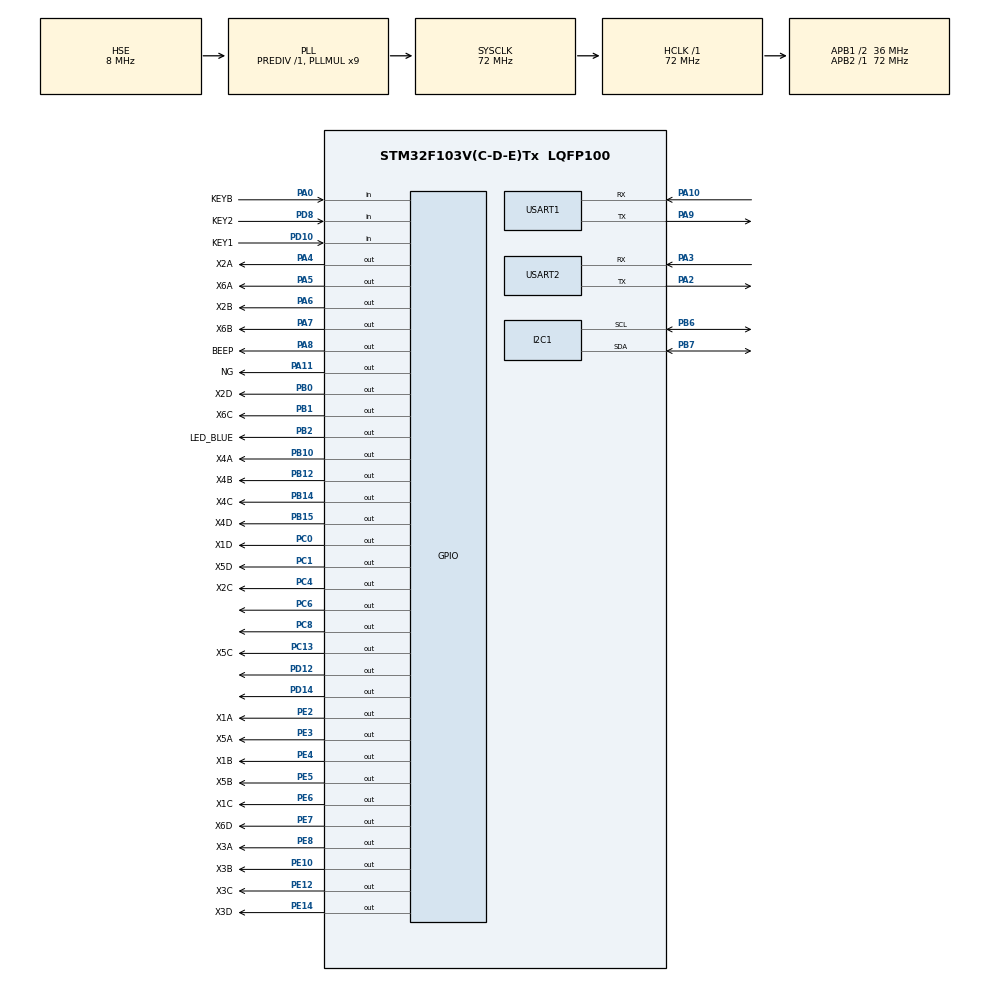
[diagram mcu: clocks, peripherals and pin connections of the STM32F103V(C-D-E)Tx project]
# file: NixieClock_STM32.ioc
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Mcu.Family=STM32F1
Mcu.Name=STM32F103V(C-D-E)Tx
Mcu.Package=LQFP100
NVIC.PriorityGroup=NVIC_PRIORITYGROUP_4
NVIC.TIM6_IRQn=true\:0\:0\:false\:false\:true\:true\:true\:true
NVIC.TIM7_IRQn=true\:0\:0\:false\:false\:true\:true\:true\:true
OSC_IN.Mode=HSE-External-Oscillator
OSC_IN.Signal=RCC_OSC_IN
OSC_OUT.Mode=HSE-External-Oscillator
OSC_OUT.Signal=RCC_OSC_OUT
PA0-WKUP.GPIO_Label=KEYB
PA0-WKUP.Signal=GPIO_Input
PA10.Mode=Asynchronous
PA10.Signal=USART1_RX
PA11.GPIO_Label=NG
PA11.Signal=GPIO_Output
PA13.Mode=Serial_Wire
PA13.Signal=SYS_JTMS-SWDIO
PA14.Mode=Serial_Wire
PA14.Signal=SYS_JTCK-SWCLK
PA2.Mode=Asynchronous
PA2.Signal=USART2_TX
PA3.Mode=Asynchronous
PA3.Signal=USART2_RX
PA4.GPIO_Label=X2A
PA4.GPIO_PuPd=GPIO_PULLUP
PA4.PinState=GPIO_PIN_SET
PA4.Signal=GPIO_Output
PA5.GPIO_Label=X6A
PA5.GPIO_PuPd=GPIO_PULLUP
PA5.PinState=GPIO_PIN_SET
PA5.Signal=GPIO_Output
PA6.GPIO_Label=X2B
PA6.GPIO_PuPd=GPIO_PULLUP
PA6.PinState=GPIO_PIN_SET
PA6.Signal=GPIO_Output
PA7.GPIO_Label=X6B
PA7.GPIO_PuPd=GPIO_PULLUP
PA7.PinState=GPIO_PIN_SET
PA7.Signal=GPIO_Output
PA8.GPIO_Label=BEEP
PA8.Signal=GPIO_Output
PA9.Mode=Asynchronous
PA9.Signal=USART1_TX
PB0.GPIO_Label=X2D
PB0.GPIO_PuPd=GPIO_PULLUP
PB0.PinState=GPIO_PIN_SET
PB0.Signal=GPIO_Output
PB1.GPIO_Label=X6C
PB1.GPIO_PuPd=GPIO_PULLUP
PB1.PinState=GPIO_PIN_SET
PB1.Signal=GPIO_Output
PB10.GPIO_Label=X4A
PB10.GPIO_PuPd=GPIO_PULLUP
PB10.PinState=GPIO_PIN_SET
PB10.Signal=GPIO_Output
PB12.GPIO_Label=X4B
PB12.GPIO_PuPd=GPIO_PULLUP
PB12.PinState=GPIO_PIN_SET
PB12.Signal=GPIO_Output
PB14.GPIO_Label=X4C
PB14.GPIO_PuPd=GPIO_PULLUP
PB14.PinState=GPIO_PIN_SET
PB14.Signal=GPIO_Output
PB15.GPIO_Label=X4D
PB15.GPIO_PuPd=GPIO_PULLUP
PB15.PinState=GPIO_PIN_SET
PB15.Signal=GPIO_Output
PB2.GPIO_Label=LED_BLUE
PB2.Signal=GPIO_Output
PB6.Mode=I2C
PB6.Signal=I2C1_SCL
PB7.Mode=I2C
PB7.Signal=I2C1_SDA
PC0.GPIO_Label=X1D
PC0.GPIO_PuPd=GPIO_NOPULL
PC0.PinState=GPIO_PIN_SET
PC0.Signal=GPIO_Output
PC1.GPIO_Label=X5D
PC1.GPIO_PuPd=GPIO_PULLUP
PC1.PinState=GPIO_PIN_SET
PC1.Signal=GPIO_Output
PC13-TAMPER-RTC.GPIO_Label=X5C
PC13-TAMPER-RTC.GPIO_PuPd=GPIO_PULLUP
PC13-TAMPER-RTC.PinState=GPIO_PIN_SET
PC13-TAMPER-RTC.Signal=GPIO_Output
PC4.GPIO_Label=X2C
PC4.GPIO_PuPd=GPIO_PULLUP
PC4.PinState=GPIO_PIN_SET
PC4.Signal=GPIO_Output
PC6.Signal=GPIO_Output
PC8.Signal=GPIO_Output
PD10.GPIO_Label=KEY1
PD10.Signal=GPIO_Input
PD12.Signal=GPIO_Output
PD14.Signal=GPIO_Output
PD8.GPIO_Label=KEY2
PD8.Signal=GPIO_Input
PE10.GPIO_Label=X3B
PE10.GPIO_PuPd=GPIO_PULLUP
PE10.PinState=GPIO_PIN_SET
PE10.Signal=GPIO_Output
PE12.GPIO_Label=X3C
PE12.GPIO_PuPd=GPIO_PULLUP
PE12.PinState=GPIO_PIN_SET
PE12.Signal=GPIO_Output
PE14.GPIO_Label=X3D
PE14.GPIO_PuPd=GPIO_PULLUP
PE14.PinState=GPIO_PIN_SET
PE14.Signal=GPIO_Output
PE2.GPIO_Label=X1A
PE2.PinState=GPIO_PIN_SET
PE2.Signal=GPIO_Output
PE3.GPIO_Label=X5A
PE3.GPIO_PuPd=GPIO_PULLUP
PE3.PinState=GPIO_PIN_SET
PE3.Signal=GPIO_Output
PE4.GPIO_Label=X1B
PE4.GPIO_PuPd=GPIO_NOPULL
PE4.PinState=GPIO_PIN_SET
PE4.Signal=GPIO_Output
PE5.GPIO_Label=X5B
PE5.GPIO_PuPd=GPIO_PULLUP
PE5.PinState=GPIO_PIN_SET
PE5.Signal=GPIO_Output
PE6.GPIO_Label=X1C
PE6.GPIO_PuPd=GPIO_NOPULL
PE6.PinState=GPIO_PIN_SET
PE6.Signal=GPIO_Output
PE7.GPIO_Label=X6D
PE7.GPIO_PuPd=GPIO_PULLUP
PE7.PinState=GPIO_PIN_SET
PE7.Signal=GPIO_Output
PE8.GPIO_Label=X3A
PE8.GPIO_PuPd=GPIO_PULLUP
PE8.PinState=GPIO_PIN_SET
PE8.Signal=GPIO_Output
ProjectManager.HeapSize=0x200
ProjectManager.StackSize=0x400
ProjectManager.TargetToolchain=MDK-ARM V5.32
RCC.AHBFreq_Value=72000000
RCC.APB1CLKDivider=RCC_HCLK_DIV2
RCC.APB1Freq_Value=36000000
RCC.APB1TimFreq_Value=72000000
RCC.APB2Freq_Value=72000000
RCC.APB2TimFreq_Value=72000000
RCC.HCLKFreq_Value=72000000
RCC.PLLMUL=RCC_PLL_MUL9
RCC.PLLSourceVirtual=RCC_PLLSOURCE_HSE
RCC.SYSCLKFreq_VALUE=72000000
RCC.SYSCLKSource=RCC_SYSCLKSOURCE_PLLCLK
RCC.USBFreq_Value=72000000
TIM6.Period=5000
TIM6.Prescaler=7199
TIM7.Period=9999
TIM7.Prescaler=7199
USART1.VirtualMode=VM_ASYNC
USART2.VirtualMode=VM_ASYNC
VP_TIM6_VS_ClockSourceINT.Mode=Enable_Timer
VP_TIM7_VS_ClockSourceINT.Mode=Enable_Timer
board=custom

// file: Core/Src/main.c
/* USER CODE BEGIN Header */
/**
  ******************************************************************************
  * @file           : main.c
  * @brief          : Main program body
  ******************************************************************************
  * @attention
  *
  * Copyright (c) 2024 STMicroelectronics.
  * All rights reserved.
  *
  * This software is licensed under terms that can be found in the LICENSE file
  * in the root directory of this software component.
  * If no LICENSE file comes with this software, it is provided AS-IS.
  *
  ******************************************************************************
  */
/* USER CODE END Header */
#include "main.h"
#include "i2c.h"
#include "tim.h"
#include "usart.h"
#include "gpio.h"

/* USER CODE BEGIN Includes */
#include"bsp.h"
#include"stdint.h"
#include"stdio.h"
#include"stdlib.h"
#include"math.h"
#include"string.h"
#include"oled.h"
#include "ds1307.h"
#include "stdbool.h"
/* USER CODE END Includes */

/* USER CODE BEGIN PV */
uint32_t TimerUART = 0;
bool Timestate = true;

uint8_t date ;
uint8_t month ;
uint16_t year ;
uint8_t dow ;
uint8_t hour ;
uint8_t minute ;
uint8_t second ;
int8_t zone_hr ;
uint8_t zone_min ;

uint32_t hour_n;
uint32_t minute_n;
uint32_t second_n;
uint32_t hour_n1;
uint32_t hour_n2;
uint32_t minute_n1;
uint32_t minute_n2;
uint32_t second_n1;
uint32_t second_n2;
/* USER CODE END PV */

void SystemClock_Config(void);

/* USER CODE BEGIN 0 */
int fputc(int ch, FILE *f)
{
    HAL_UART_Transmit(&huart1, (uint8_t *)&ch, 1, 50);
}

/* USER CODE END 0 */

int main(void)
{
    /* MCU Configuration--------------------------------------------------------*/
    /* Reset of all peripherals, Initializes the Flash interface and the Systick. */
    HAL_Init();
    /* Configure the system clock */
    SystemClock_Config();
    /* Initialize all configured peripherals */
    MX_GPIO_Init();
    MX_I2C1_Init();
    MX_USART1_UART_Init();
    MX_USART2_UART_Init();
    MX_TIM7_Init();
    MX_TIM6_Init();
    /* USER CODE BEGIN 2 */
    OLED_Initial();
    TIMs_Start();
    DS1307_Init(&hi2c1);
    Self_Test();

    /* USER CODE END 2 */

    /* Infinite loop */
    while (1) {
        /* USER CODE BEGIN 3 */
        if ((HAL_GetTick() - TimerUART) > 1000) {

            TimerUART = HAL_GetTick();
            Get_time();
            Mixie_display_time();

        }
    }

    /* USER CODE END 3 */
}

void SystemClock_Config(void)
{
    RCC_OscInitTypeDef RCC_OscInitStruct = {0};
    RCC_ClkInitTypeDef RCC_ClkInitStruct = {0};
    /** Initializes the RCC Oscillators according to the specified parameters
    * in the RCC_OscInitTypeDef structure.
    */
    RCC_OscInitStruct.OscillatorType = RCC_OSCILLATORTYPE_HSE;
    RCC_OscInitStruct.HSEState = RCC_HSE_ON;
    RCC_OscInitStruct.HSEPredivValue = RCC_HSE_PREDIV_DIV1;
    RCC_OscInitStruct.HSIState = RCC_HSI_ON;
    RCC_OscInitStruct.PLL.PLLState = RCC_PLL_ON;
    RCC_OscInitStruct.PLL.PLLSource = RCC_PLLSOURCE_HSE;
    RCC_OscInitStruct.PLL.PLLMUL = RCC_PLL_MUL9;

    if (HAL_RCC_OscConfig(&RCC_OscInitStruct) != HAL_OK) {
        Error_Handler();
    }

    /** Initializes the CPU, AHB and APB buses clocks
    */
    RCC_ClkInitStruct.ClockType = RCC_CLOCKTYPE_HCLK | RCC_CLOCKTYPE_SYSCLK
                                  | RCC_CLOCKTYPE_PCLK1 | RCC_CLOCKTYPE_PCLK2;
    RCC_ClkInitStruct.SYSCLKSource = RCC_SYSCLKSOURCE_PLLCLK;
    RCC_ClkInitStruct.AHBCLKDivider = RCC_SYSCLK_DIV1;
    RCC_ClkInitStruct.APB1CLKDivider = RCC_HCLK_DIV2;
    RCC_ClkInitStruct.APB2CLKDivider = RCC_HCLK_DIV1;

    if (HAL_RCC_ClockConfig(&RCC_ClkInitStruct, FLASH_LATENCY_2) != HAL_OK) {
        Error_Handler();
    }
}

void Error_Handler(void)
{
    __disable_irq();
    while (1) {
    }
}
